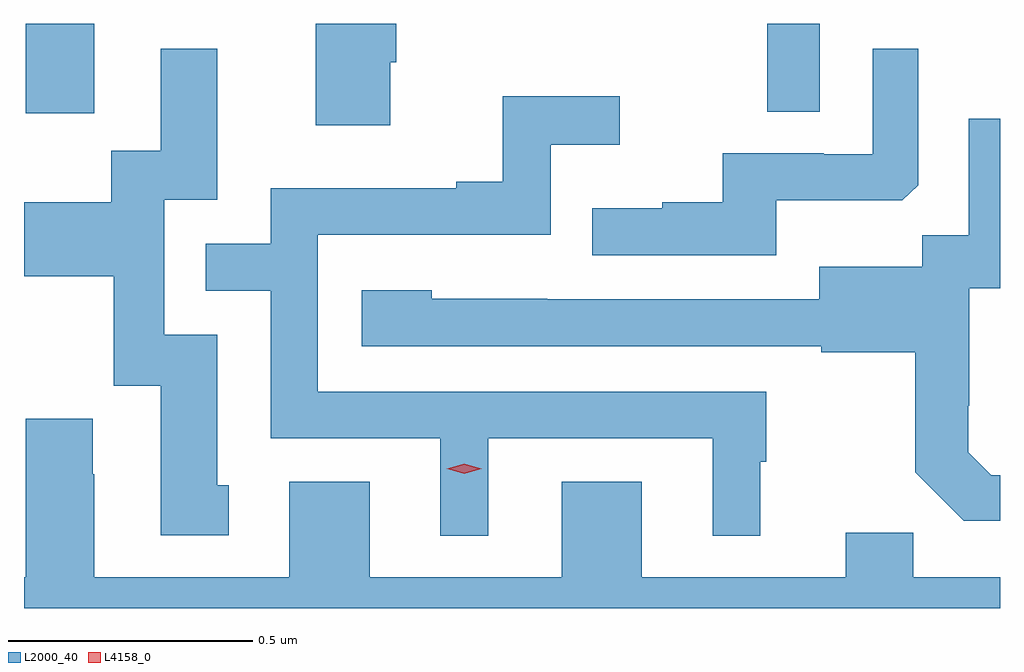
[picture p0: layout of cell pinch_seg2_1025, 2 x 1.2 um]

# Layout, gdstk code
import gdstk
lib = gdstk.Library(unit=1e-6, precision=1e-09)
def R(c, l, rs):  # rectangles x0, y0, x1, y1
    for r in rs: c.add(gdstk.rectangle(r[:2], r[2:], *l))
def P(c, l, *ps):  # polygons
    for p in ps: c.add(gdstk.Polygon(p, *l))
L2000_40 = (2000, 40)
L4158_0 = (4158, 0)

pinch_seg2_1025 = lib.new_cell('pinch_seg2_1025')
R(pinch_seg2_1025, L2000_40, [(159.935,584.814,160.075,584.998), (161.454,584.818,161.562,584.998)])
P(pinch_seg2_1025, L2000_40, [(160.681,584.919),(160.694,584.919),(160.694,584.998),(160.529,584.998),(160.529,584.79),(160.681,584.79)],
  [(160.351,584.052),(160.327,584.052),(160.327,584.361),(160.218,584.361),(160.218,584.637),(160.327,584.637),(160.327,584.947),(160.211,584.947),(160.211,584.738),(160.11,584.738),(160.11,584.632),(159.931,584.632),(159.931,584.48),(160.115,584.48),(160.115,584.256),(160.211,584.256),(160.211,583.95),(160.351,583.95)],
  [(161.473,584.636),(161.731,584.636),(161.763,584.667),(161.763,584.947),(161.67,584.947),(161.67,584.73),(161.57,584.73),(161.57,584.733),(161.363,584.733),(161.363,584.632),(161.239,584.632),(161.239,584.62),(161.095,584.62),(161.095,584.523),(161.473,584.523)],
  [(160.882,584.148),(161.342,584.148),(161.342,583.949),(161.44,583.949),(161.44,584.1),(161.452,584.1),(161.452,584.244),(160.533,584.244),(160.533,584.565),(161.01,584.565),(161.01,584.75),(161.152,584.75),(161.152,584.849),(160.912,584.849),(160.912,584.674),(160.817,584.674),(160.817,584.661),(160.437,584.661),(160.437,584.547),(160.303,584.547),(160.303,584.451),(160.437,584.451),(160.437,584.148),(160.784,584.148),(160.784,583.949),(160.882,583.949)],
  [(161.931,584.073),(161.913,584.073),(161.866,584.12),(161.866,584.215),(161.868,584.215),(161.868,584.456),(161.931,584.456),(161.931,584.803),(161.867,584.803),(161.867,584.564),(161.772,584.564),(161.772,584.5),(161.561,584.5),(161.561,584.433),(161.003,584.433),(161.003,584.434),(160.767,584.434),(160.767,584.452),(160.623,584.452),(160.623,584.337),(161.565,584.337),(161.565,584.325),(161.757,584.325),(161.757,584.079),(161.857,583.979),(161.931,583.979)],
  [(161.931,583.864),(161.753,583.864),(161.753,583.955),(161.615,583.955),(161.615,583.864),(161.197,583.864),(161.197,584.059),(161.033,584.059),(161.033,583.864),(160.639,583.864),(160.639,584.059),(160.475,584.059),(160.475,583.864),(160.075,583.864),(160.075,584.075),(160.072,584.075),(160.072,584.188),(159.935,584.188),(159.935,583.864),(159.931,583.864),(159.931,583.8),(161.931,583.8)])
P(pinch_seg2_1025, L4158_0, [(160.833,584.076),(160.797,584.086),(160.797,584.086),(160.797,584.086),(160.833,584.096),(160.869,584.086),(160.869,584.086),(160.869,584.086)])

lib.write_gds('pinch_seg2_1025.gds')
